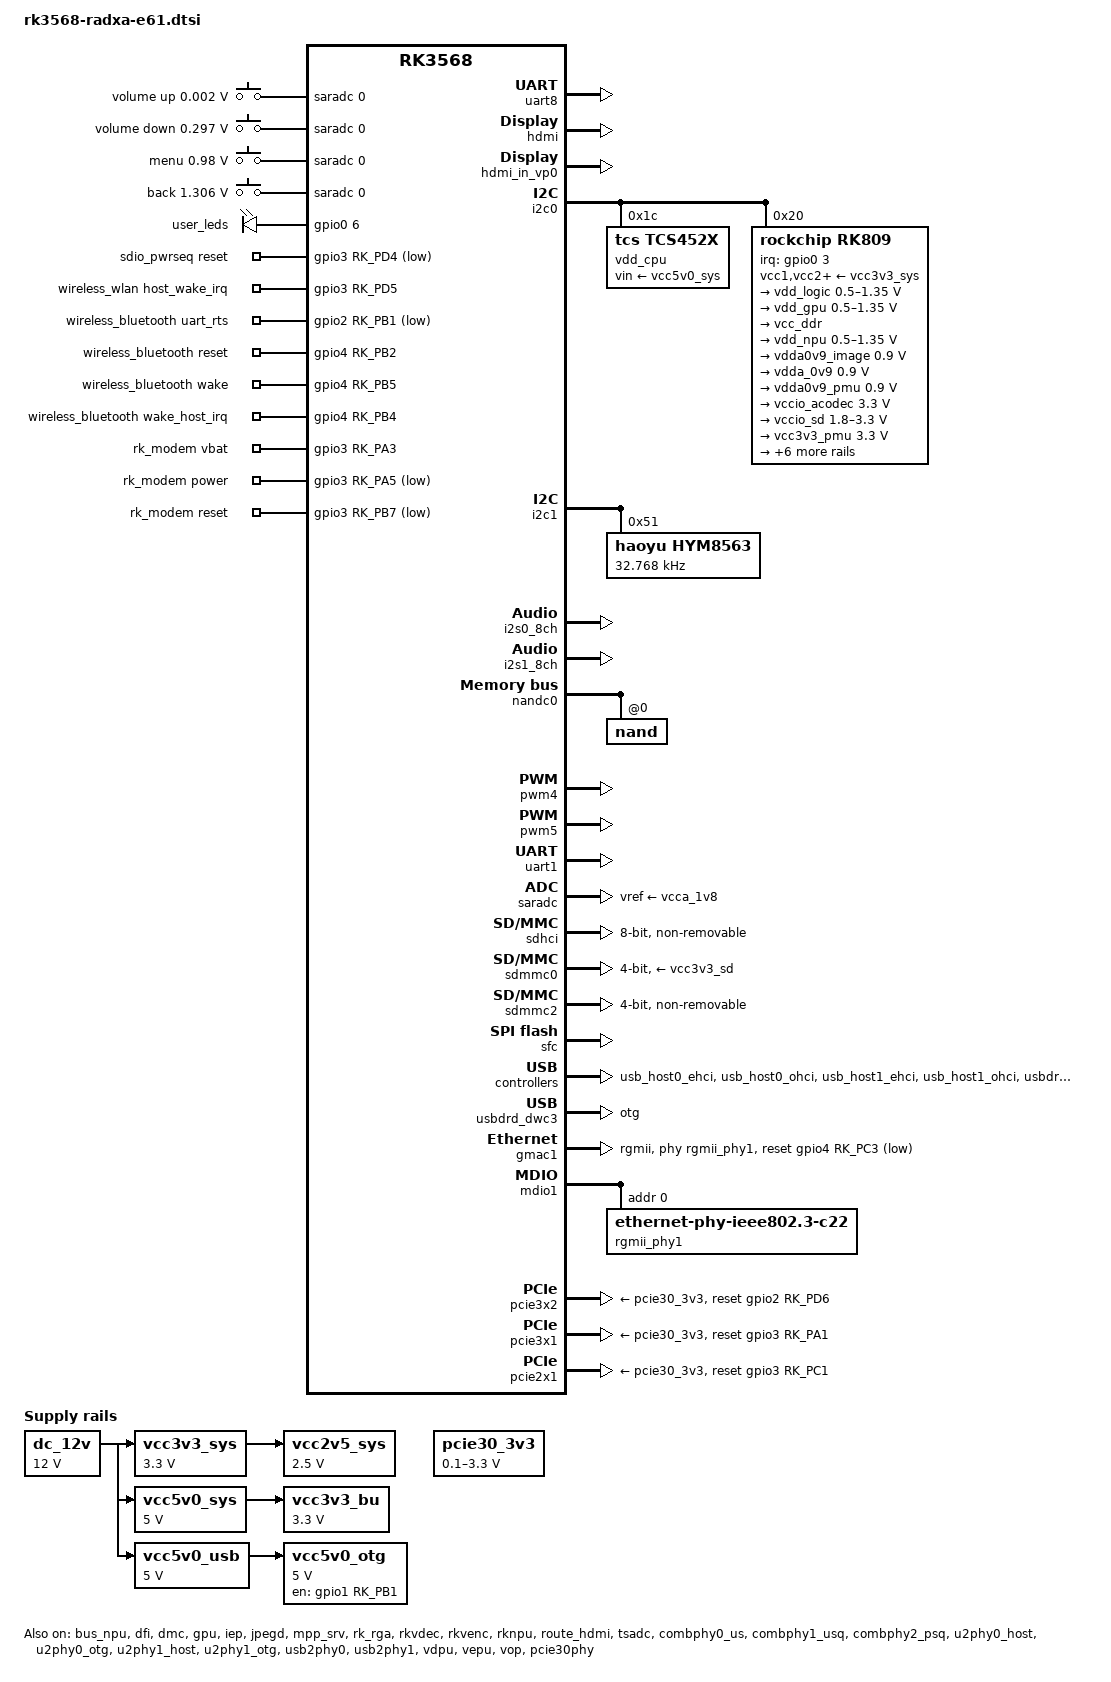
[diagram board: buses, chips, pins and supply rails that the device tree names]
// SPDX-License-Identifier: (GPL-2.0+ OR MIT)
/*
 * Copyright (c) 2020 Rockchip Electronics Co., Ltd.
 *
 */

/dts-v1/;

#include <dt-bindings/gpio/gpio.h>
#include <dt-bindings/pwm/pwm.h>
#include <dt-bindings/pinctrl/rockchip.h>
#include <dt-bindings/input/rk-input.h>
#include <dt-bindings/display/drm_mipi_dsi.h>
#include <dt-bindings/sensor-dev.h>
#include "rk3568.dtsi"
#include "rk3568-android.dtsi"

/ {
	adc_keys: adc-keys {
		compatible = "adc-keys";
		io-channels = <&saradc 0>;
		io-channel-names = "buttons";
		keyup-threshold-microvolt = <1800000>;
		poll-interval = <100>;

		vol-up-key {
			label = "volume up";
			linux,code = <KEY_VOLUMEUP>;
			press-threshold-microvolt = <1750>;
		};

		vol-down-key {
			label = "volume down";
			linux,code = <KEY_VOLUMEDOWN>;
			press-threshold-microvolt = <297500>;
		};

		menu-key {
			label = "menu";
			linux,code = <KEY_MENU>;
			press-threshold-microvolt = <980000>;
		};

		back-key {
			label = "back";
			linux,code = <KEY_BACK>;
			press-threshold-microvolt = <1305500>;
		};
	};

	dc_12v: dc-12v {
		compatible = "regulator-fixed";
		regulator-name = "dc_12v";
		regulator-always-on;
		regulator-boot-on;
		regulator-min-microvolt = <12000000>;
		regulator-max-microvolt = <12000000>;
	};

	pcie30_3v3: pcie30-3v3 {
		compatible = "regulator-gpio";
		regulator-name = "pcie30_3v3";
		regulator-min-microvolt = <100000>;
		regulator-max-microvolt = <3300000>;
		gpios = <&gpio3 RK_PC4 GPIO_ACTIVE_HIGH>;
		gpios-states = <0x1>;
		states = <100000 0x0
			  3300000 0x1>;
	};

	vcc2v5_sys: vcc2v5-ddr {
		compatible = "regulator-fixed";
		regulator-name = "vcc2v5-sys";
		regulator-always-on;
		regulator-boot-on;
		regulator-min-microvolt = <2500000>;
		regulator-max-microvolt = <2500000>;
		vin-supply = <&vcc3v3_sys>;
	};

	vcc3v3_bu: vcc3v3-bu {
		compatible = "regulator-fixed";
		regulator-name = "vcc3v3_bu";
		regulator-always-on;
		regulator-boot-on;
		regulator-min-microvolt = <3300000>;
		regulator-max-microvolt = <3300000>;
		vin-supply = <&vcc5v0_sys>;
	};

	hdmi_sound: hdmi-sound {
		status = "disabled";
		compatible = "rockchip,hdmi";
		rockchip,mclk-fs = <128>;
		rockchip,card-name = "rockchip,hdmi";
		rockchip,cpu = <&i2s0_8ch>;
		rockchip,codec = <&hdmi>;
	};

	gpio_leds: gpio-leds {
		compatible = "gpio-leds";
		status = "okay";
		user_leds: user-led {
			gpios = <&gpio0 6 GPIO_ACTIVE_HIGH>;	
			linux,default-trigger = "timer";
			default-state = "on";
			pinctrl-0 = <&user_led>;
		};
	};

	rk809_sound: rk809-sound {
		status = "okay";
		compatible = "simple-audio-card";
		simple-audio-card,format = "i2s";
		simple-audio-card,name = "rockchip,rk809-codec";
		simple-audio-card,mclk-fs = <256>;

		simple-audio-card,cpu {
			sound-dai = <&i2s1_8ch>;
		};
		simple-audio-card,codec {
			sound-dai = <&rk809_codec>;
		};
	};

	vcc3v3_sys: vcc3v3-sys {
		compatible = "regulator-fixed";
		regulator-name = "vcc3v3_sys";
		regulator-always-on;
		regulator-boot-on;
		regulator-min-microvolt = <3300000>;
		regulator-max-microvolt = <3300000>;
		vin-supply = <&dc_12v>;
	};

	vcc5v0_sys: vcc5v0-sys {
		compatible = "regulator-fixed";
		regulator-name = "vcc5v0_sys";
		regulator-always-on;
		regulator-boot-on;
		regulator-min-microvolt = <5000000>;
		regulator-max-microvolt = <5000000>;
		vin-supply = <&dc_12v>;
	};

	vcc5v0_usb: vcc5v0-usb {
		compatible = "regulator-fixed";
		regulator-name = "vcc5v0_usb";
		regulator-always-on;
		regulator-boot-on;
		regulator-min-microvolt = <5000000>;
		regulator-max-microvolt = <5000000>;
		vin-supply = <&dc_12v>;
	};

	vcc5v0_otg: vcc5v0-otg-regulator {
		compatible = "regulator-fixed";
		regulator-name = "vcc5v0_otg";
		regulator-min-microvolt = <5000000>;
		regulator-max-microvolt = <5000000>;
		enable-active-high;
		gpio = <&gpio1 RK_PB1 GPIO_ACTIVE_HIGH>;
		vin-supply = <&vcc5v0_usb>;
		pinctrl-names = "default";
		pinctrl-0 = <&vcc5v0_otg_en>;
	};

	sdio_pwrseq: sdio-pwrseq {
		compatible = "mmc-pwrseq-simple";
		clocks = <&rk809 1>;
		clock-names = "ext_clock";
		pinctrl-names = "default";
		pinctrl-0 = <&wifi_enable_h>;

		/*
		 * On the module itself this is one of these (depending
		 * on the actual card populated):
		 * - SDIO_RESET_L_WL_REG_ON
		 * - PDN (power down when low)
		 */
		post-power-on-delay-ms = <200>;
		reset-gpios = <&gpio3 RK_PD4 GPIO_ACTIVE_LOW>;		//WIFI_REG_ON_H
	};

	wireless_wlan: wireless-wlan {
		compatible = "wlan-platdata";
		rockchip,grf = <&grf>;
		wifi_chip_type = "ap6256";
		pinctrl-names = "default";
		pinctrl-0 = <&wifi_host_wake_irq>;
		WIFI,host_wake_irq = <&gpio3 RK_PD5 GPIO_ACTIVE_HIGH>;		//WIFI_WAKE_HOST_H
		status = "okay";
	};

	wireless_bluetooth: wireless-bluetooth {
		compatible = "bluetooth-platdata";
		clocks = <&rk809 1>;
		clock-names = "ext_clock";
		//wifi-bt-power-toggle;
		uart_rts_gpios = <&gpio2 RK_PB1 GPIO_ACTIVE_LOW>;
		pinctrl-names = "default", "rts_gpio";
		pinctrl-0 = <&uart8m0_rtsn>;
		pinctrl-1 = <&uart8_gpios>;
		BT,reset_gpio    = <&gpio4 RK_PB2 GPIO_ACTIVE_HIGH>;	//BT_REG_ON_H
		BT,wake_gpio     = <&gpio4 RK_PB5 GPIO_ACTIVE_HIGH>;	//HOST_WAKE_BT_H
		BT,wake_host_irq = <&gpio4 RK_PB4 GPIO_ACTIVE_HIGH>;	//BT_WAKE_HOST_H
		status = "okay";
	};

	rk_modem: rk-modem {
		compatible="4g-modem-platdata";
		4G,vbat-gpio = <&gpio3 RK_PA3 GPIO_ACTIVE_HIGH>;
		4G,power-gpio = <&gpio3 RK_PA5 GPIO_ACTIVE_LOW>;
		4G,reset-gpio = <&gpio3 RK_PB7 GPIO_ACTIVE_LOW>;
		status = "okay";
	};
};

&uart8 {
	status = "okay";
	pinctrl-names = "default";
	pinctrl-0 = <&uart8m0_xfer &uart8m0_ctsn>;
};

&bus_npu {
	bus-supply = <&vdd_logic>;
	pvtm-supply = <&vdd_cpu>;
	status = "okay";
};

&cpu0 {
	cpu-supply = <&vdd_cpu>;
};

&dfi {
	status = "okay";
};

&dmc {
	center-supply = <&vdd_logic>;
	status = "okay";
};

&gpu {
	mali-supply = <&vdd_gpu>;
	status = "okay";
};

&hdmi {
	status = "okay";
	rockchip,phy-table =
		<92812500  0x8009 0x0000 0x0270>,
		<165000000 0x800b 0x0000 0x026d>,
		<185625000 0x800b 0x0000 0x01ed>,
		<297000000 0x800b 0x0000 0x01ad>,
		<594000000 0x8029 0x0000 0x0088>,
		<000000000 0x0000 0x0000 0x0000>;
};

&hdmi_in_vp0 {
	status = "okay";
};

&hdmi_in_vp1 {
	status = "disabled";
};

&hdmi_sound {
	status = "okay";
};

&i2c0 {
	status = "okay";

	vdd_cpu: tcs4525@1c {
		compatible = "tcs,tcs452x";
		reg = <0x1c>;
		vin-supply = <&vcc5v0_sys>;
		regulator-compatible = "fan53555-reg";
		regulator-name = "vdd_cpu";
		regulator-min-microvolt = <712500>;
		regulator-max-microvolt = <1390000>;
		regulator-init-microvolt = <900000>;
		regulator-ramp-delay = <2300>;
		fcs,suspend-voltage-selector = <1>;
		regulator-boot-on;
		regulator-always-on;
		regulator-state-mem {
			regulator-off-in-suspend;
		};
	};

	rk809: pmic@20 {
		compatible = "rockchip,rk809";
		reg = <0x20>;
		interrupt-parent = <&gpio0>;
		interrupts = <3 IRQ_TYPE_LEVEL_LOW>;

		pinctrl-names = "default", "pmic-sleep",
				"pmic-power-off", "pmic-reset";
		pinctrl-0 = <&pmic_int>;
		pinctrl-1 = <&soc_slppin_slp>, <&rk817_slppin_slp>;
		pinctrl-2 = <&soc_slppin_gpio>, <&rk817_slppin_pwrdn>;
		pinctrl-3 = <&soc_slppin_gpio>, <&rk817_slppin_rst>;

		rockchip,system-power-controller;
		wakeup-source;
		#clock-cells = <1>;
		clock-output-names = "rk808-clkout1", "rk808-clkout2";
		//fb-inner-reg-idxs = <2>;
		/* 1: rst regs (default in codes), 0: rst the pmic */
		pmic-reset-func = <0>;
		/* not save the PMIC_POWER_EN register in uboot */
		not-save-power-en = <1>;

		vcc1-supply = <&vcc3v3_sys>;
		vcc2-supply = <&vcc3v3_sys>;
		vcc3-supply = <&vcc3v3_sys>;
		vcc4-supply = <&vcc3v3_sys>;
		vcc5-supply = <&vcc3v3_sys>;
		vcc6-supply = <&vcc3v3_sys>;
		vcc7-supply = <&vcc3v3_sys>;
		vcc8-supply = <&vcc3v3_sys>;
		vcc9-supply = <&vcc3v3_sys>;

		pwrkey {
			status = "okay";
		};

		pinctrl_rk8xx: pinctrl_rk8xx {
			gpio-controller;
			#gpio-cells = <2>;

			rk817_slppin_null: rk817_slppin_null {
				pins = "gpio_slp";
				function = "pin_fun0";
			};

			rk817_slppin_slp: rk817_slppin_slp {
				pins = "gpio_slp";
				function = "pin_fun1";
			};

			rk817_slppin_pwrdn: rk817_slppin_pwrdn {
				pins = "gpio_slp";
				function = "pin_fun2";
			};

			rk817_slppin_rst: rk817_slppin_rst {
				pins = "gpio_slp";
				function = "pin_fun3";
			};
		};

		regulators {
			vdd_logic: DCDC_REG1 {
				regulator-always-on;
				regulator-boot-on;
				regulator-min-microvolt = <500000>;
				regulator-max-microvolt = <1350000>;
				regulator-init-microvolt = <900000>;
				regulator-ramp-delay = <6001>;
				regulator-initial-mode = <0x2>;
				regulator-name = "vdd_logic";
				regulator-state-mem {
					regulator-off-in-suspend;
				};
			};

			vdd_gpu: DCDC_REG2 {
				regulator-always-on;
				regulator-boot-on;
				regulator-min-microvolt = <500000>;
				regulator-max-microvolt = <1350000>;
				regulator-init-microvolt = <900000>;
				regulator-ramp-delay = <6001>;
				regulator-initial-mode = <0x2>;
				regulator-name = "vdd_gpu";
				regulator-state-mem {
					regulator-off-in-suspend;
				};
			};

			vcc_ddr: DCDC_REG3 {
				regulator-always-on;
				regulator-boot-on;
				regulator-initial-mode = <0x2>;
				regulator-name = "vcc_ddr";
				regulator-state-mem {
					regulator-on-in-suspend;
				};
			};

			vdd_npu: DCDC_REG4 {
				regulator-always-on;
				regulator-boot-on;
				regulator-min-microvolt = <500000>;
				regulator-max-microvolt = <1350000>;
				regulator-init-microvolt = <900000>;
				regulator-ramp-delay = <6001>;
				regulator-initial-mode = <0x2>;
				regulator-name = "vdd_npu";
				regulator-state-mem {
					regulator-off-in-suspend;
				};
			};

			vdda0v9_image: LDO_REG1 {
				regulator-boot-on;
				regulator-always-on;
				regulator-min-microvolt = <900000>;
				regulator-max-microvolt = <900000>;
				regulator-name = "vdda0v9_image";
				regulator-state-mem {
					regulator-off-in-suspend;
				};
			};

			vdda_0v9: LDO_REG2 {
				regulator-always-on;
				regulator-boot-on;
				regulator-min-microvolt = <900000>;
				regulator-max-microvolt = <900000>;
				regulator-name = "vdda_0v9";
				regulator-state-mem {
					regulator-off-in-suspend;
				};
			};

			vdda0v9_pmu: LDO_REG3 {
				regulator-always-on;
				regulator-boot-on;
				regulator-min-microvolt = <900000>;
				regulator-max-microvolt = <900000>;
				regulator-name = "vdda0v9_pmu";
				regulator-state-mem {
					regulator-on-in-suspend;
					regulator-suspend-microvolt = <900000>;
				};
			};

			vccio_acodec: LDO_REG4 {
				regulator-always-on;
				regulator-boot-on;
				regulator-min-microvolt = <3300000>;
				regulator-max-microvolt = <3300000>;
				regulator-name = "vccio_acodec";
				regulator-state-mem {
					regulator-off-in-suspend;
				};
			};

			vccio_sd: LDO_REG5 {
				regulator-always-on;
				regulator-boot-on;
				regulator-min-microvolt = <1800000>;
				regulator-max-microvolt = <3300000>;
				regulator-name = "vccio_sd";
				regulator-state-mem {
					regulator-off-in-suspend;
				};
			};

			vcc3v3_pmu: LDO_REG6 {
				regulator-always-on;
				regulator-boot-on;
				regulator-min-microvolt = <3300000>;
				regulator-max-microvolt = <3300000>;
				regulator-name = "vcc3v3_pmu";
				regulator-state-mem {
					regulator-on-in-suspend;
					regulator-suspend-microvolt = <3300000>;
				};
			};

			vcca_1v8: LDO_REG7 {
				regulator-always-on;
				regulator-boot-on;
				regulator-min-microvolt = <1800000>;
				regulator-max-microvolt = <1800000>;
				regulator-name = "vcca_1v8";
				regulator-state-mem {
					regulator-off-in-suspend;
				};
			};

			vcca1v8_pmu: LDO_REG8 {
				regulator-always-on;
				regulator-boot-on;
				regulator-min-microvolt = <1800000>;
				regulator-max-microvolt = <1800000>;
				regulator-name = "vcca1v8_pmu";
				regulator-state-mem {
					regulator-on-in-suspend;
					regulator-suspend-microvolt = <1800000>;
				};
			};

			vcca1v8_image: LDO_REG9 {
				regulator-always-on;
				regulator-boot-on;
				regulator-min-microvolt = <1800000>;
				regulator-max-microvolt = <1800000>;
				regulator-name = "vcca1v8_image";
				regulator-state-mem {
					regulator-off-in-suspend;
				};
			};

			vcc_1v8: DCDC_REG5 {
				regulator-always-on;
				regulator-boot-on;
				regulator-min-microvolt = <1800000>;
				regulator-max-microvolt = <1800000>;
				regulator-name = "vcc_1v8";
				regulator-state-mem {
					regulator-off-in-suspend;
				};
			};

			vcc_3v3: SWITCH_REG1 {
				regulator-always-on;
				regulator-boot-on;
				regulator-name = "vcc_3v3";
				regulator-state-mem {
					regulator-off-in-suspend;
				};
			};

			vcc3v3_sd: SWITCH_REG2 {
				regulator-always-on;
				regulator-boot-on;
				regulator-name = "vcc3v3_sd";
				regulator-state-mem {
					regulator-off-in-suspend;
				};
			};
		};

		rk809_codec: codec {
			#sound-dai-cells = <0>;
			compatible = "rockchip,rk809-codec", "rockchip,rk817-codec";
			clocks = <&cru I2S1_MCLKOUT>;
			clock-names = "mclk";
			assigned-clocks = <&cru I2S1_MCLKOUT>, <&cru I2S1_MCLK_TX_IOE>;
			assigned-clock-rates = <12288000>;
			assigned-clock-parents = <&cru I2S1_MCLKOUT_TX>, <&cru I2S1_MCLKOUT_TX>;
			pinctrl-names = "default";
			pinctrl-0 = <&i2s1m0_mclk>;
			hp-volume = <20>;
			spk-volume = <3>;
			mic-in-differential;
			status = "okay";
		};
	};
};

&i2c1 {
	status = "okay";
	pinctrl-0 = <&i2c1_xfer>;

	hym8563: hym8563@51 {
		compatible = "haoyu,hym8563";
		status = "okay";
		reg = <0x51>;
		#clock-cells = <0>;
		clock-frequency = <32768>;
		clock-output-names = "hym8563";
	};
};

&i2s0_8ch {
	status = "okay";
};

&i2s1_8ch {
	status = "okay";
	rockchip,clk-trcm = <1>;
	pinctrl-names = "default";
	pinctrl-0 = <&i2s1m0_sclktx
		     &i2s1m0_lrcktx
		     &i2s1m0_sdi0
		     &i2s1m0_sdo0>;
};

&iep {
	status = "okay";
};

&iep_mmu {
	status = "okay";
};

&jpegd {
	status = "okay";
};

&jpegd_mmu {
	status = "okay";
};

&mpp_srv {
	status = "okay";
};

&nandc0 {
	#address-cells = <1>;
	#size-cells = <0>;
	status = "okay";

	nand@0 {
		reg = <0>;
		nand-bus-width = <8>;
		nand-ecc-mode = "hw";
		nand-ecc-strength = <16>;
		nand-ecc-step-size = <1024>;
	};
};

&pinctrl {

	pmic {
		pmic_int: pmic_int {
			rockchip,pins =
				<0 RK_PA3 RK_FUNC_GPIO &pcfg_pull_up>;
		};

		soc_slppin_gpio: soc_slppin_gpio {
			rockchip,pins =
				<0 RK_PA2 RK_FUNC_GPIO &pcfg_output_low_pull_down>;
		};

		soc_slppin_slp: soc_slppin_slp {
			rockchip,pins =
				<0 RK_PA2 1 &pcfg_pull_up>;
		};

		soc_slppin_rst: soc_slppin_rst {
			rockchip,pins =
				<0 RK_PA2 2 &pcfg_pull_none>;
		};
	};

	sdio-pwrseq {
		wifi_enable_h: wifi-enable-h {
			rockchip,pins = <3 RK_PD4 RK_FUNC_GPIO &pcfg_pull_none>;
		};
	};

	wireless-wlan {
		wifi_host_wake_irq: wifi-host-wake-irq {
			rockchip,pins = <3 RK_PD5 RK_FUNC_GPIO &pcfg_pull_up>;
		};
	};

	wireless-bluetooth {
		uart8_gpios: uart8-gpios {
			rockchip,pins = <2 RK_PB1 RK_FUNC_GPIO &pcfg_pull_none>;
		};
	};

	usb {
		vcc5v0_otg_en: vcc5v0-otg-en {
			rockchip,pins = <1 RK_PB1 RK_FUNC_GPIO &pcfg_pull_none>;
		};
	};

	leds {
		user_led: user-led {
			rockchip,pins = <0 RK_PA6 RK_FUNC_GPIO &pcfg_pull_none>;
		};
	};
};

 /*
  * There are 10 independent IO domains in RK3566/RK3568, including PMUIO[0:2] and VCCIO[1:7].
  * 1/ PMUIO0 and PMUIO1 are fixed-level power domains which cannot be configured;
  * 2/ PMUIO2 and VCCIO1,VCCIO[3:7] domains require that their hardware power supply voltages
  *    must be consistent with the software configuration correspondingly
  *	a/ When the hardware IO level is connected to 1.8V, the software voltage configuration
  *	   should also be configured to 1.8V accordingly;
  *	b/ When the hardware IO level is connected to 3.3V, the software voltage configuration
  *	   should also be configured to 3.3V accordingly;
  * 3/ VCCIO2 voltage control selection (0xFDC20140)
  *	BIT[0]: 0x0: from GPIO_0A7 (default)
  *	BIT[0]: 0x1: from GRF
  *    Default is determined by Pin FLASH_VOL_SEL/GPIO0_A7:
  *	L:VCCIO2 must supply 3.3V
  *	H:VCCIO2 must supply 1.8V
  */
&pmu_io_domains {
	status = "okay";
	pmuio2-supply = <&vcc3v3_pmu>;
	vccio1-supply = <&vccio_acodec>;
	vccio3-supply = <&vccio_sd>;
	vccio4-supply = <&vcc_1v8>;
	vccio5-supply = <&vcc5v0_usb>;
	vccio6-supply = <&vcc_1v8>;
	vccio7-supply = <&vcc_3v3>;
};

&pwm4 {
	status = "okay";
};

&pwm5 {
	status = "okay";
};

&uart1 {
	status = "okay";
	pinctrl-names = "default";
	pinctrl-0 = <&uart1m0_xfer &uart1m0_ctsn>;
};

&rk_rga {
	status = "okay";
};

&rkvdec {
	status = "okay";
};

&rkvdec_mmu {
	status = "okay";
};

&rkvenc {
	venc-supply = <&vdd_logic>;
	status = "okay";
};

&rkvenc_mmu {
	status = "okay";
};

&rknpu {
	rknpu-supply = <&vdd_npu>;
	status = "okay";
};

&rknpu_mmu {
	status = "okay";
};

&route_hdmi {
	status = "okay";
	connect = <&vp0_out_hdmi>;
};

&saradc {
	status = "okay";
	vref-supply = <&vcca_1v8>;
};

&sdhci {
	bus-width = <8>;
	supports-emmc;
	non-removable;
	max-frequency = <200000000>;
	status = "okay";
};

&sdmmc0 {
	max-frequency = <150000000>;
	supports-sd;
	bus-width = <4>;
	cap-mmc-highspeed;
	cap-sd-highspeed;
	disable-wp;
	sd-uhs-sdr104;
	vmmc-supply = <&vcc3v3_sd>;
	vqmmc-supply = <&vccio_sd>;
	pinctrl-names = "default";
	pinctrl-0 = <&sdmmc0_bus4 &sdmmc0_clk &sdmmc0_cmd &sdmmc0_det>;
	status = "okay";
};

&sdmmc2 {
	max-frequency = <150000000>;
	supports-sdio;
	bus-width = <4>;
	disable-wp;
	cap-sd-highspeed;
	cap-sdio-irq;
	keep-power-in-suspend;
	mmc-pwrseq = <&sdio_pwrseq>;
	non-removable;
	pinctrl-names = "default";
	pinctrl-0 = <&sdmmc2m0_bus4 &sdmmc2m0_cmd &sdmmc2m0_clk>;
	sd-uhs-sdr104;
	status = "okay";
};

&sfc {
	status = "okay";
};

&tsadc {
	status = "okay";
};

&combphy0_us {
	status = "okay";
};

&combphy1_usq {
	status = "okay";
};

&combphy2_psq {
	status = "okay";
};

&u2phy0_host {
	status = "okay";
};

&u2phy0_otg {
	vbus-supply = <&vcc5v0_otg>;
	status = "okay";
};
// host3
&u2phy1_host {
	status = "okay";
};
// host2
&u2phy1_otg {
	phy-supply = <&vcc5v0_usb>;
	status = "okay";
};

&usb2phy0 {
	status = "okay";
};

&usb2phy1 {
	status = "okay";
};

&usb_host0_ehci {
	status = "okay";
};

&usb_host0_ohci {
	status = "okay";
};

&usb_host1_ehci {
	status = "okay";
};

&usb_host1_ohci {
	status = "okay";
};

&usbdrd_dwc3 {
	dr_mode = "otg";
	extcon = <&usb2phy0>;
	status = "okay";
};

&usbdrd30 {
	status = "okay";
};

&usbhost_dwc3 {
	status = "okay";
};

&usbhost30 {
	status = "okay";
};

&vad {
	rockchip,audio-src = <&i2s1_8ch>;
	rockchip,buffer-time-ms = <128>;
	rockchip,det-channel = <0>;
	rockchip,mode = <0>;
};

&vdpu {
	status = "okay";
};

&vdpu_mmu {
	status = "okay";
};

&vepu {
	status = "okay";
};

&vepu_mmu {
	status = "okay";
};

&vop {
	status = "okay";
	assigned-clocks = <&cru DCLK_VOP0>, <&cru DCLK_VOP1>;
	assigned-clock-parents = <&pmucru PLL_HPLL>, <&cru PLL_VPLL>;
};

&vop_mmu {
	status = "okay";
};

&gmac1 {
	phy-mode = "rgmii";
	clock_in_out = "output";

	snps,reset-gpio = <&gpio4 RK_PC3 GPIO_ACTIVE_LOW>;
	snps,reset-active-low;
	/* Reset time is 20ms, 100ms for rtl8211f */
	snps,reset-delays-us = <0 20000 100000>;

	assigned-clocks = <&cru SCLK_GMAC1_RX_TX>, <&cru SCLK_GMAC1>;
	assigned-clock-parents = <&cru SCLK_GMAC1_RGMII_SPEED>;
	assigned-clock-rates = <0>, <125000000>;

	pinctrl-names = "default";
	pinctrl-0 = <&gmac1m1_miim
		     &gmac1m1_tx_bus2
		     &gmac1m1_rx_bus2
		     &gmac1m1_rgmii_clk
		     &gmac1m1_rgmii_bus>;

	tx_delay = <0x44>;
	rx_delay = <0x26>;

	phy-handle = <&rgmii_phy1>;
	status = "okay";
};

&mdio1 {
	status = "okay";

	rgmii_phy1: phy@0 {
		status = "okay";
		compatible = "ethernet-phy-ieee802.3-c22";
		reg = <0x0>;
	};
};

&pcie30phy {
	status = "okay";
};

//M-KEY
&pcie3x2 {
	reset-gpios = <&gpio2 RK_PD6 GPIO_ACTIVE_HIGH>;
	vpcie3v3-supply = <&pcie30_3v3>;
	pinctrl-0 = <&pcie30x2m1_pins>;
	rockchip,bifurcation;
	status = "okay";
};

//E-KEY
&pcie3x1 {
	reset-gpios = <&gpio3 RK_PA1 GPIO_ACTIVE_HIGH>;
	vpcie3v3-supply = <&pcie30_3v3>;
	pinctrl-0 = <&pcie30x1m1_pins>;
	rockchip,bifurcation;
	status = "okay";
};

//B-KEY
&pcie2x1 {
	reset-gpios = <&gpio3 RK_PC1 GPIO_ACTIVE_HIGH>;
	vpcie3v3-supply = <&pcie30_3v3>;
	pinctrl-0 = <&pcie20m1_pins>;
	status = "okay";
};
